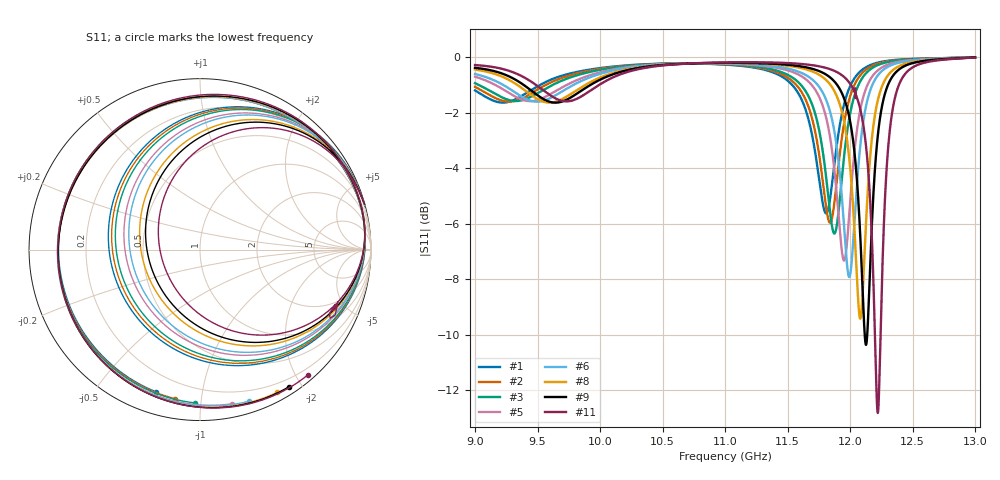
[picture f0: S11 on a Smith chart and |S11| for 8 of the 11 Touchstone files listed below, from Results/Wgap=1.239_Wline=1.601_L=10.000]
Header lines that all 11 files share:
! TOUCHSTONE file generated by CST DESIGN STUDIO
! Project name: C:\Work\MatlabApps\UnitCellOptimizationMatlab\CST\unitcell.cst
! Tree item: Tasks\Sweep1\SPara1\S-Parameters
! Header version: 2024
! Port assignment regex: !\s*Touchstone port\s*([0-9]+)\s*=\s*(CST MWS port|CST DES external port|CST DES block port)\s*(.+)\s* \(\"(.*)\"\)(\s*mode\s*([0-9]+))?.*
! Touchstone port assignment:
! Touchstone port 1 = CST DES external port 1 ("")
# GHz S MA R 50
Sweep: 9 GHz to 13 GHz
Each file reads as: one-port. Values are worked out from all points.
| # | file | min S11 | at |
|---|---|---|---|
| 1 | DS_for_MWS-run-0001.s1p | -5.6 dB | 11.81 GHz |
| 2 | DS_for_MWS-run-0002.s1p | -6.0 dB | 11.84 GHz |
| 3 | DS_for_MWS-run-0003.s1p | -6.4 dB | 11.88 GHz |
| 4 | DS_for_MWS-run-0004.s1p | -6.8 dB | 11.91 GHz |
| 5 | DS_for_MWS-run-0005.s1p | -7.3 dB | 11.95 GHz |
| 6 | DS_for_MWS-run-0006.s1p | -7.9 dB | 11.99 GHz |
| 7 | DS_for_MWS-run-0007.s1p | -8.6 dB | 12.04 GHz |
| 8 | DS_for_MWS-run-0008.s1p | -9.4 dB | 12.08 GHz |
| 9 | DS_for_MWS-run-0009.s1p | -10.4 dB | 12.13 GHz |
| 10 | DS_for_MWS-run-0010.s1p | -11.5 dB | 12.18 GHz |
| 11 | DS_for_MWS-run-0011.s1p | -12.8 dB | 12.22 GHz |
